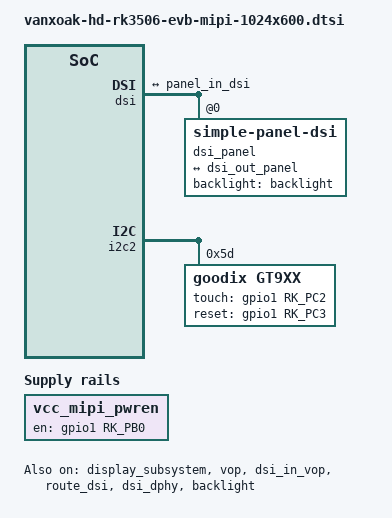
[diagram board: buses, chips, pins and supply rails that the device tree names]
#include <dt-bindings/display/drm_mipi_dsi.h>
#include <dt-bindings/input/rk-input.h>
#include <dt-bindings/suspend/rockchip-rk3506.h>

/ {
	vcc_mipi_pwren: vcc-mipi_pwren-regulator {
		compatible = "regulator-fixed";
		regulator-boot-on;
		regulator-always-on;
		regulator-name = "vcc_mipi_pwren";
		enable-active-high;
		gpio = <&gpio1 RK_PB0 GPIO_ACTIVE_HIGH>;
		pinctrl-name = "default";
		pinctrl-0 = <&mipi_pwren_gpio>;
	};
};

&dsi {
	status = "okay";
	//rockchip,lane-rate = <1000>;
	dsi_panel: panel@0 {
		status = "okay";
		compatible = "simple-panel-dsi";
		reg = <0>;
		backlight = <&backlight>;
		// power-supply = <&vcc3v3_lcd_n>;
		// reset-gpio = <&gpio1 RK_PB0 GPIO_ACTIVE_LOW>;
		reset-delay-ms = <10>;
		enable-delay-ms = <10>;
		prepare-delay-ms = <10>;
		unprepare-delay-ms = <10>;
		disable-delay-ms = <60>;
		//width-mm = <68>;
		//height-mm = <121>;
		dsi,flags = <(MIPI_DSI_MODE_VIDEO | MIPI_DSI_MODE_VIDEO_BURST |
				  MIPI_DSI_MODE_LPM | MIPI_DSI_MODE_NO_EOT_PACKET)>;
		dsi,format = <MIPI_DSI_FMT_RGB888>;
		dsi,lanes  = <2>;

		panel-init-sequence = [
			// init code
			15 00 02 30 00
			39 00 05 f7 49 61 02 00
			15 00 02 30 01
			15 00 02 04 0C
			15 00 02 05 00 
			15 00 02 06 00 
			15 00 02 0B 11	// 0x13 4lanes 0x11 2lanes
			15 00 02 17 00
			15 00 02 20 04
			15 00 02 1F 05 
			15 00 02 23 00
			15 00 02 25 19
			15 00 02 28 18
			15 00 02 29 FC
			15 00 02 2A 00
			15 00 02 2B FC
			15 00 02 2C 00
			15 00 02 30 02
			15 00 02 01 22
			15 00 02 03 12
			15 00 02 04 00
			15 00 02 05 64
			15 00 02 0A 08
			39 00 0C 0B 0A 1A 0B 0D 0D 11 10 06 08 1F 1D 
			39 00 0C 0C 0D 0D 0D 0D 0D 0D 0D 0D 0D 0D 0D 
			39 00 0C 0D 16 1B 0B 0D 0D 11 10 07 09 1E 1C 
			39 00 0C 0E 0D 0D 0D 0D 0D 0D 0D 0D 0D 0D 0D 
			39 00 0C 0F 16 1B 0D 0B 0D 11 10 1D 1F 08 06 
			39 00 0C 10 0D 0D 0D 0D 0D 0D 0D 0D 0D 0D 0D 
			39 00 0C 11 0A 1A 0D 0B 0D 11 10 1D 1F 08 06 
			39 00 0C 12 0D 0D 0D 0D 0D 0D 0D 0D 0D 0D 0D
			39 00 05 14 00 00 00 00 
			15 00 02 18 99
			15 00 02 30 06
			39 00 0F 12 36 2B 2C 3A 33 30 30 2E 2B 1B 2A 20 16 29
			39 00 0F 13 36 2B 2C 3A 33 30 30 2E 2B 1B 2A 20 16 29
			15 00 02 30 0A
			15 00 02 02 4F
			15 00 02 0B 40
			15 00 02 12 3E
			15 00 02 13 78
			15 00 02 30 0D
			15 00 02 0D 04
			15 00 02 10 0C
			15 00 02 11 0C
			15 00 02 12 0C
			15 00 02 13 0C
			15 00 02 30 00
			05 78 01 11
			05 14 01 29
		];

		disp_timings0: display-timings {
			native-mode = <&dsi_timing0>;
			dsi_timing0: timing0 {
				  clock-frequency = <42000000>;
				  hactive = <1024>;
				  vactive = <600>;
				  hback-porch = <136>;
				  hfront-porch = <160>;
				  vback-porch = <21>;
				  vfront-porch = <18>;
				  hsync-len = <24>;
				  vsync-len = <5>;
				  hsync-active = <0>;
				  vsync-active = <0>;
				  de-active = <0>;
				  pixelclk-active = <0>;
			};
		};

		ports {
			#address-cells = <1>;
			#size-cells = <0>;

			port@0 {
				reg = <0>;
				panel_in_dsi: endpoint {
					remote-endpoint = <&dsi_out_panel>;
					status = "okay";
				};
			};
		};
	};

	ports {
		#address-cells = <1>;
		#size-cells = <0>;

		port@1 {
			reg = <1>;
			dsi_out_panel: endpoint {
				remote-endpoint = <&panel_in_dsi>;
			};
		};
	};
};

&display_subsystem {
	status = "okay";
	logo-memory-region = <&drm_logo>;
};

&vop {
	status = "okay";
};

&dsi_in_vop {
	status = "okay";
};

&rgb_in_vop {
	status = "disabled";
};

&route_dsi {
	status = "okay";
	//logo,rotate = <3>;
};

&route_rgb {
	status = "disabled";
};

&dsi_dphy {
	status = "okay";
};

&backlight {
	compatible = "pwm-backlight";
	pwms = <&pwm0_4ch_2 0 10000 0>;
	status = "okay";
};

// TOUCH
&i2c2 {
	status = "okay";
	 pinctrl-0 = <&rm_io4_i2c2_scl &rm_io5_i2c2_sda>;

	gt9xx: gt9xx@5d {
		compatible = "goodix,gt9xx";
		reg = <0x5d>;

		pinctrl-names = "default";
		pinctrl-0 = <&gt911_int_pin &gt911_rst_pin>;

		touch-gpio = <&gpio1 RK_PC2 IRQ_TYPE_LEVEL_LOW>;
		reset-gpio = <&gpio1 RK_PC3 GPIO_ACTIVE_HIGH>;
		max-x = <1024>;
		max-y = <600>;
		tp-size = <911>;
		gtp-y-reverse;					// y轴翻转
		//not-send-cfg;					// 默认不发送屏幕配置，注释表示发送屏幕配置
		status = "okay";
      	//power-supply = <&vcc18_lcd_n>;
	};
};

&pinctrl {
	gt911{
		gt911_int_pin: gt911_int_pin {
			rockchip,pins = <1 RK_PC2 RK_FUNC_GPIO &pcfg_pull_none>;
		};
		gt911_rst_pin: gt911_rst_pin {
			rockchip,pins = <1 RK_PC3 RK_FUNC_GPIO &pcfg_pull_none>;
		};
	};
	mipi_lcd{
		mipi_pwren_gpio: mipi_pwren_gpio {
			rockchip,pins = <1 RK_PB0 RK_FUNC_GPIO &pcfg_pull_none>;
		};
	};
};
